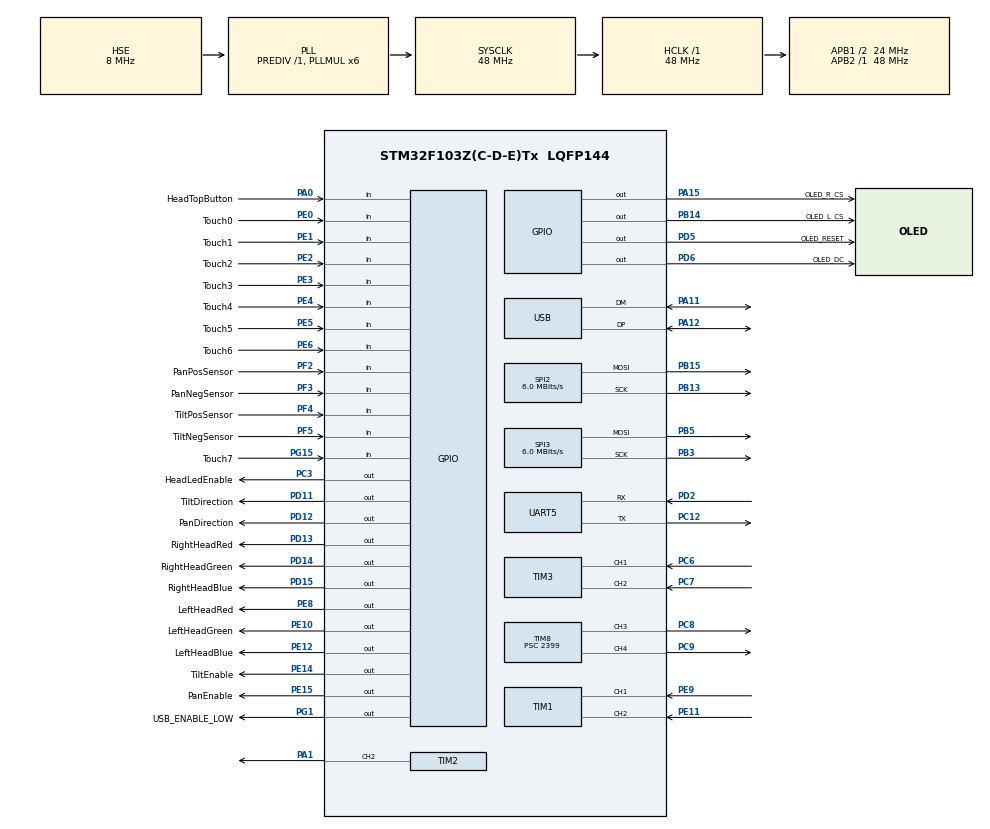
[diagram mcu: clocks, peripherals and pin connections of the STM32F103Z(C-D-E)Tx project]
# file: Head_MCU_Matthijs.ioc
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Mcu.Family=STM32F1
Mcu.Name=STM32F103Z(C-D-E)Tx
Mcu.Package=LQFP144
NVIC.PriorityGroup=NVIC_PRIORITYGROUP_4
NVIC.TIM7_IRQn=true\:0\:0\:false\:false\:true\:true\:true\:true
NVIC.UART5_IRQn=true\:0\:0\:false\:false\:true\:true\:true\:true
NVIC.USB_HP_CAN1_TX_IRQn=true\:0\:0\:false\:false\:true\:true\:true\:true
NVIC.USB_LP_CAN1_RX0_IRQn=true\:0\:0\:false\:false\:true\:false\:true\:true
OSC_IN.Mode=HSE-External-Oscillator
OSC_IN.Signal=RCC_OSC_IN
OSC_OUT.Mode=HSE-External-Oscillator
OSC_OUT.Signal=RCC_OSC_OUT
PA0-WKUP.GPIO_Label=HeadTopButton
PA0-WKUP.GPIO_PuPd=GPIO_PULLUP
PA0-WKUP.Signal=GPIO_Input
PA1.Signal=S_TIM2_CH2
PA11.Mode=Device
PA11.Signal=USB_DM
PA12.Mode=Device
PA12.Signal=USB_DP
PA13.Mode=Serial_Wire
PA13.Signal=SYS_JTMS-SWDIO
PA14.Mode=Serial_Wire
PA14.Signal=SYS_JTCK-SWCLK
PA15.GPIO_Label=OLED_R_CS
PA15.Signal=GPIO_Output
PB13.Mode=TX_Only_Simplex_Unidirect_Master
PB13.Signal=SPI2_SCK
PB14.GPIO_Label=OLED_L_CS
PB14.Signal=GPIO_Output
PB15.Mode=TX_Only_Simplex_Unidirect_Master
PB15.Signal=SPI2_MOSI
PB3.Mode=TX_Only_Simplex_Unidirect_Master
PB3.Signal=SPI3_SCK
PB5.Mode=TX_Only_Simplex_Unidirect_Master
PB5.Signal=SPI3_MOSI
PC12.Mode=Asynchronous
PC12.Signal=UART5_TX
PC3.GPIO_Label=HeadLedEnable
PC3.GPIO_ModeDefaultOutputPP=GPIO_MODE_OUTPUT_PP
PC3.GPIO_PuPd=GPIO_PULLDOWN
PC3.Signal=GPIO_Output
PC6.Signal=S_TIM3_CH1
PC7.GPIO_PuPd=GPIO_PULLUP
PC7.Signal=S_TIM3_CH2
PC8.Signal=S_TIM8_CH3
PC9.Signal=S_TIM8_CH4
PD11.GPIO_Label=TiltDirection
PD11.Signal=GPIO_Output
PD12.GPIO_Label=PanDirection
PD12.GPIO_PuPd=GPIO_NOPULL
PD12.Signal=GPIO_Output
PD13.GPIO_Label=RightHeadRed
PD13.GPIO_ModeDefaultOutputPP=GPIO_MODE_OUTPUT_PP
PD13.GPIO_PuPd=GPIO_PULLDOWN
PD13.GPIO_Speed=GPIO_SPEED_FREQ_LOW
PD13.Signal=GPIO_Output
PD14.GPIO_Label=RightHeadGreen
PD14.GPIO_PuPd=GPIO_PULLDOWN
PD14.GPIO_Speed=GPIO_SPEED_FREQ_LOW
PD14.Signal=GPIO_Output
PD15.GPIO_Label=RightHeadBlue
PD15.GPIO_PuPd=GPIO_PULLDOWN
PD15.Signal=GPIO_Output
PD2.Mode=Asynchronous
PD2.Signal=UART5_RX
PD5.GPIO_Label=OLED_RESET
PD5.Signal=GPIO_Output
PD6.GPIO_Label=OLED_DC
PD6.Signal=GPIO_Output
PE0.GPIO_Label=Touch0
PE0.GPIO_PuPd=GPIO_PULLUP
PE0.Signal=GPIO_Input
PE1.GPIO_Label=Touch1
PE1.GPIO_PuPd=GPIO_PULLUP
PE1.Signal=GPIO_Input
PE10.GPIO_Label=LeftHeadGreen
PE10.GPIO_PuPd=GPIO_PULLDOWN
PE10.Signal=GPIO_Output
PE11.Signal=S_TIM1_CH2
PE12.GPIO_Label=LeftHeadBlue
PE12.GPIO_PuPd=GPIO_PULLDOWN
PE12.Signal=GPIO_Output
PE14.GPIO_Label=TiltEnable
PE14.Signal=GPIO_Output
PE15.GPIO_Label=PanEnable
PE15.Signal=GPIO_Output
PE2.GPIO_Label=Touch2
PE2.GPIO_PuPd=GPIO_PULLUP
PE2.Signal=GPIO_Input
PE3.GPIO_Label=Touch3
PE3.GPIO_PuPd=GPIO_PULLUP
PE3.Signal=GPIO_Input
PE4.GPIO_Label=Touch4
PE4.GPIO_PuPd=GPIO_PULLUP
PE4.Signal=GPIO_Input
PE5.GPIO_Label=Touch5
PE5.GPIO_PuPd=GPIO_PULLUP
PE5.Signal=GPIO_Input
PE6.GPIO_Label=Touch6
PE6.GPIO_PuPd=GPIO_PULLUP
PE6.Signal=GPIO_Input
PE8.GPIO_Label=LeftHeadRed
PE8.GPIO_PuPd=GPIO_PULLDOWN
PE8.Signal=GPIO_Output
PE9.Signal=S_TIM1_CH1
PF2.GPIO_Label=PanPosSensor
PF2.GPIO_PuPd=GPIO_PULLUP
PF2.Signal=GPIO_Input
PF3.GPIO_Label=PanNegSensor
PF3.GPIO_PuPd=GPIO_PULLUP
PF3.Signal=GPIO_Input
PF4.GPIO_Label=TiltPosSensor
PF4.GPIO_PuPd=GPIO_PULLUP
PF4.Signal=GPIO_Input
PF5.GPIO_Label=TiltNegSensor
PF5.GPIO_PuPd=GPIO_PULLUP
PF5.Signal=GPIO_Input
PG1.GPIO_Label=USB_ENABLE_LOW
PG1.GPIO_PuPd=GPIO_PULLDOWN
PG1.Signal=GPIO_Output
PG15.GPIO_Label=Touch7
PG15.GPIO_PuPd=GPIO_PULLUP
PG15.Signal=GPIO_Input
ProjectManager.HeapSize=0x200
ProjectManager.StackSize=0x400
ProjectManager.TargetToolchain=STM32CubeIDE
RCC.AHBFreq_Value=48000000
RCC.APB1CLKDivider=RCC_HCLK_DIV2
RCC.APB1Freq_Value=24000000
RCC.APB1TimFreq_Value=48000000
RCC.APB2Freq_Value=48000000
RCC.APB2TimFreq_Value=48000000
RCC.HCLKFreq_Value=48000000
RCC.PLLMUL=RCC_PLL_MUL6
RCC.SYSCLKFreq_VALUE=48000000
RCC.SYSCLKSource=RCC_SYSCLKSOURCE_PLLCLK
RCC.USBFreq_Value=48000000
SH.S_TIM1_CH1.0=TIM1_CH1,Encoder_Interface
SH.S_TIM1_CH2.0=TIM1_CH2,Encoder_Interface
SH.S_TIM2_CH2.0=TIM2_CH2,PWM Generation2 CH2
SH.S_TIM3_CH1.0=TIM3_CH1,Encoder_Interface
SH.S_TIM3_CH2.0=TIM3_CH2,Encoder_Interface
SH.S_TIM8_CH3.0=TIM8_CH3,PWM Generation3 CH3
SH.S_TIM8_CH4.0=TIM8_CH4,PWM Generation4 CH4
SPI2.BaudRatePrescaler=SPI_BAUDRATEPRESCALER_4
SPI2.CalculateBaudRate=6.0 MBits/s
SPI2.Direction=SPI_DIRECTION_2LINES
SPI2.Mode=SPI_MODE_MASTER
SPI2.VirtualType=VM_MASTER
SPI3.BaudRatePrescaler=SPI_BAUDRATEPRESCALER_4
SPI3.CalculateBaudRate=6.0 MBits/s
SPI3.Direction=SPI_DIRECTION_2LINES
SPI3.Mode=SPI_MODE_MASTER
SPI3.VirtualType=VM_MASTER
TIM1.EncoderMode=TIM_ENCODERMODE_TI12
TIM2.AutoReloadPreload=TIM_AUTORELOAD_PRELOAD_ENABLE
TIM2.Channel-PWM\ Generation2\ CH2=TIM_CHANNEL_2
TIM2.Period=100
TIM2.Prescaler=1499
TIM7.AutoReloadPreload=TIM_AUTORELOAD_PRELOAD_ENABLE
TIM7.Period=99
TIM7.Prescaler=4799
TIM8.AutoReloadPreload=TIM_AUTORELOAD_PRELOAD_ENABLE
TIM8.Channel-PWM\ Generation3\ CH3=TIM_CHANNEL_3
TIM8.Channel-PWM\ Generation4\ CH4=TIM_CHANNEL_4
TIM8.Period=100
TIM8.Prescaler=2399
UART5.VirtualMode=Asynchronous
USB_DEVICE.CLASS_NAME_FS=CDC
USB_DEVICE.PID_CDC_FS=14162
USB_DEVICE.PRODUCT_STRING_CDC_FS=Sara Head MCU
USB_DEVICE.USBD_MAX_NUM_CONFIGURATION=1
USB_DEVICE.USBD_MAX_NUM_INTERFACES=1
USB_DEVICE.USBD_MAX_STR_DESC_SIZ=512
USB_DEVICE.VirtualMode=Cdc
USB_DEVICE.VirtualModeFS=Cdc_FS
VP_TIM7_VS_ClockSourceINT.Mode=Enable_Timer
VP_USB_DEVICE_VS_USB_DEVICE_CDC_FS.Mode=CDC_FS
board=custom

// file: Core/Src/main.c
/* USER CODE BEGIN Header */
/**
  ******************************************************************************
  * @file           : main.c
  * @brief          : Main program body
  ******************************************************************************
  * @attention
  *
  * <h2><center>&copy; Copyright (c) 2025 STMicroelectronics.
  * All rights reserved.</center></h2>
  *
  * This software component is licensed by ST under BSD 3-Clause license,
  * the "License"; You may not use this file except in compliance with the
  * License. You may obtain a copy of the License at:
  *                        opensource.org/licenses/BSD-3-Clause
  *
  ******************************************************************************
  */
/* USER CODE END Header */
#include "main.h"
#include "usb_device.h"

/* USER CODE BEGIN Includes */
#include "protocol_0x55.h"
#include "RobotGlobals.h"
#include "RGBLeds_Head.h"
#include "Encoders.h"
#include "HeadMotors.h"
#include "SSD1305_eyes.h"
#include "default_eyes.h"
#include "fire_eyes.h"
#include "TouchSensors.h"
#include "Eyes.h"

/* USER CODE END Includes */

/* USER CODE BEGIN PD */
void HeadLed(int LedOn);
void HeadStop(void);
void HeadRelease(void);
//void Update_Eyes(int BlinkEye);

/* USER CODE END PD */

SPI_HandleTypeDef hspi2;
SPI_HandleTypeDef hspi3;

TIM_HandleTypeDef htim1;
TIM_HandleTypeDef htim2;
TIM_HandleTypeDef htim3;
TIM_HandleTypeDef htim7;
TIM_HandleTypeDef htim8;

UART_HandleTypeDef huart5;

/* USER CODE BEGIN PV */
int SelfTestTimer = 0;

int Update_25Hz;
int Update_20Hz;
int Update_16Hz;
int Update_10Hz;
int Update_5Hz;
int Update_2Hz;
int Update_1Hz;

int Selftest = False;

int HeadButtonOld;
int HeadButton;

int tmp1;
int tmp2;

int head_pan_max;
int Counter_2Hz = 0;

int SlowCounter = 0;

int System_Ready = False;

int Button[2];

char TxBuffer[10];

OLED_HandleTypeDef left_eye;
OLED_HandleTypeDef right_eye;

/* USER CODE END PV */

void SystemClock_Config(void);
static void MX_GPIO_Init(void);
static void MX_TIM7_Init(void);
static void MX_TIM2_Init(void);
static void MX_TIM1_Init(void);
static void MX_TIM3_Init(void);
static void MX_TIM8_Init(void);
static void MX_SPI2_Init(void);
static void MX_SPI3_Init(void);
static void MX_UART5_Init(void);

/* USER CODE BEGIN 0 */
void System_Initialize_Start()
{
	// Main timer
	HAL_TIM_Base_Start_IT(&htim7);

	RGBLeds_Init();

	Protocol_0x55_Init(&huart5);

	Encoders_Init(&htim1, &htim3);

	Head_Pan_Init(&htim8);
	Head_Pan_Home();

	Head_Tilt_Init(&htim8);
	Head_Tilt_Home();

	System_Ready = True;

	HeadLed(False);

	TouchSensors_Init();

	left_eye.hspi = &hspi2;
	left_eye.cs = toGPIO(OLED_L_CS_GPIO_Port, OLED_L_CS_Pin);
	left_eye.dc = toGPIO(OLED_DC_GPIO_Port, OLED_DC_Pin);
	left_eye.reset = toGPIO(OLED_RESET_GPIO_Port, OLED_RESET_Pin);

	right_eye.hspi = &hspi3;
	right_eye.cs = toGPIO(OLED_R_CS_GPIO_Port, OLED_R_CS_Pin);
	right_eye.dc = toGPIO(OLED_DC_GPIO_Port, OLED_DC_Pin);
	right_eye.reset = toGPIO(OLED_RESET_GPIO_Port, OLED_RESET_Pin);

	SSD1305_init(&left_eye, &right_eye);

	SSD1305_writeDisplay(&left_eye, (uint8_t*) &default_left_eye_closed);
	SSD1305_writeDisplay(&right_eye, (uint8_t*) &default_right_eye_closed);

	Eyes_Init(&left_eye, &right_eye);
}

void System_Initialze_Update()
{
	if (HeadPan_State.HomeState != Homed)
	{
		return;
	}

	if (HeadTilt_State.HomeState != Homed)
	{
		return;
	}

	System_Ready = True;
}

void Check_USB_Communication()
{
	if (Protocol_0x55_CheckFifo() > 0)
	{
		int command = Protocol_0x55_GetCommand();

		if (command == CMD_VERSION_HEAD)
		{
			SendVersion();
		}

		if (command == CMD_HEAD_LEFT_COLOR)
		{
			RGBLeds_SetAllColors(LeftHead, Protocol_0x55_GetData(3), Protocol_0x55_GetData(4));
		}

		if (command == CMD_HEAD_RIGHT_COLOR)
		{
			RGBLeds_SetAllColors(RightHead, Protocol_0x55_GetData(3), Protocol_0x55_GetData(4));
		}

		if (command == CMD_HEAD_TILT_HOME)
		{
			Head_Tilt_Home();
		}

		if (command == CMD_HEAD_PAN_HOME)
		{
			Head_Pan_Home();
		}

		if (command == CMD_HEAD_PAN_MOVE)
		{
			Generic_Head_Position_Setpoint(HeadPan, Protocol_0x55_GetData(3), Protocol_0x55_GetData(4));
		}

		if (command == CMD_HEAD_TILT_MOVE)
		{
			Generic_Head_Position_Setpoint(HeadTilt, Protocol_0x55_GetData(3), Protocol_0x55_GetData(4));
		}

		if (command == CMD_HEAD_EYES)
		{
			Eyes_Select(Protocol_0x55_GetData(3), Protocol_0x55_GetData(4));
		}

		if (command == CMD_HEAD_LAMP)
		{
			HeadLed(Protocol_0x55_GetData(3));
		}

		if (command == CMD_HEAD_STOP)
		{
			HeadStop();
		}

		Protocol_0x55_MarkProcessed();
	}
}

void HeadLed(int LedOn)
{
	if (LedOn)
	{
		HAL_GPIO_WritePin(HeadLedEnable_GPIO_Port, HeadLedEnable_Pin, GPIO_PIN_RESET);
	}
	else
	{
		HAL_GPIO_WritePin(HeadLedEnable_GPIO_Port, HeadLedEnable_Pin, GPIO_PIN_SET);
	}
}

int HeadButton_Read()
{
	return (HAL_GPIO_ReadPin(HeadTopButton_GPIO_Port, HeadTopButton_Pin) == GPIO_PIN_RESET);
}

void HeadButton_Update()
{
	Button[1] = Button[0];
	Button[0] = HeadButton_Read();

	memset(TxBuffer, 0, 10);

	// Pressed
	if ((Button[0] == 1) && (Button[1] == 0))
	{
		HeadStop();

		TxBuffer[0] = HEAD_BUTTON_PRESSED;
		HAL_UART_Transmit(&huart5, (uint8_t*) &TxBuffer[0], 1, 10);
	}

	// Released
	if ((Button[0] == 0) && (Button[1] == 1))
	{
		HeadRelease();

		TxBuffer[0] = HEAD_BUTTON_RELEASED;
		HAL_UART_Transmit(&huart5, (uint8_t*) &TxBuffer[0], 1, 10);
	}
}

void HeadStop(void)
{
	RGBLeds_SetAllColors(LeftHead, Red, LED_On);
	RGBLeds_SetAllColors(RightHead, Red, LED_On);

	// Abort any motion
	HeadPan_State.MotionState = Motion_Idle;
	HeadTilt_State.MotionState = Motion_Idle;
}

void HeadRelease(void)
{
	RGBLeds_SetAllColors(LeftHead, Red, LED_Off);
	RGBLeds_SetAllColors(RightHead, Red, LED_Off);
}

void setPanMotor(int8_t setSpeed)
{
	HAL_GPIO_WritePin(PanDirection_GPIO_Port, PanDirection_Pin, setSpeed<0); // PAN
	TIM8->CCR4 = 100 - abs(setSpeed); // PAN
}

/* USER CODE END 0 */

int main(void)
{

  /* MCU Configuration--------------------------------------------------------*/

  /* Reset of all peripherals, Initializes the Flash interface and the Systick. */
  HAL_Init();

  /* Configure the system clock */
  SystemClock_Config();

  /* Initialize all configured peripherals */
  MX_GPIO_Init();
  MX_USB_DEVICE_Init();
  MX_TIM7_Init();
  MX_TIM2_Init();
  MX_TIM1_Init();
  MX_TIM3_Init();
  MX_TIM8_Init();
  MX_SPI2_Init();
  MX_SPI3_Init();
  MX_UART5_Init();
  /* USER CODE BEGIN 2 */

	TIM2->CCR2 = 0;
	HAL_TIM_PWM_Start(&htim2, TIM_CHANNEL_2);

	System_Initialize_Start();
	System_Initialze_Update();

  /* USER CODE END 2 */

  /* Infinite loop */
  /* USER CODE BEGIN WHILE */
	while (1)
	{
		if (Update_25Hz)
		{
			Update_25Hz = 0;
		}

		if (Update_20Hz)
		{
			Update_20Hz = 0;
			System_Initialze_Update();

			Head_Update20Hz(Encoders_GetPointer());
		}

		if (Update_10Hz)
		{
			Update_10Hz = 0;

			RGBLeds_Update10Hz();
			Encoders_Update();
			HeadButton_Update();
	  }

		if (Update_5Hz)
		{
			Update_5Hz = 0;

			TouchSensors_Update();
			if (TouchSensor_AnyChanged()) { SendTouchSensors(TouchSensors_GetPointer());}
		}

		if (Update_2Hz)
		{
			Update_2Hz = 0;

			if (Counter_2Hz == 0)
			{
			  Update_Eyes(False);
			}

			if (Counter_2Hz == 5)
			{
			  Update_Eyes(True);
			}

			Counter_2Hz = (Counter_2Hz + 1) % 6;
		}

	if (Update_1Hz)
	{
		Update_1Hz = 0;

		SlowCounter += 1;
	  }

	  //--------------------------------------------------------
	  // Limit the check for new data frequency
	  // When run at full speed (no delay), the USB interrupt and the check will lead
	  // to lost bytes. Don't know why and don't know how to solve. But delay works fine.
	  //--------------------------------------------------------
	  Check_USB_Communication();
	  HAL_Delay(1);

    /* USER CODE END WHILE */

  }
}

void SystemClock_Config(void)
{
  RCC_OscInitTypeDef RCC_OscInitStruct = {0};
  RCC_ClkInitTypeDef RCC_ClkInitStruct = {0};
  RCC_PeriphCLKInitTypeDef PeriphClkInit = {0};

  /** Initializes the RCC Oscillators according to the specified parameters
  * in the RCC_OscInitTypeDef structure.
  */
  RCC_OscInitStruct.OscillatorType = RCC_OSCILLATORTYPE_HSE;
  RCC_OscInitStruct.HSEState = RCC_HSE_ON;
  RCC_OscInitStruct.HSEPredivValue = RCC_HSE_PREDIV_DIV1;
  RCC_OscInitStruct.HSIState = RCC_HSI_ON;
  RCC_OscInitStruct.PLL.PLLState = RCC_PLL_ON;
  RCC_OscInitStruct.PLL.PLLSource = RCC_PLLSOURCE_HSE;
  RCC_OscInitStruct.PLL.PLLMUL = RCC_PLL_MUL6;
  if (HAL_RCC_OscConfig(&RCC_OscInitStruct) != HAL_OK)
  {
    Error_Handler();
  }

  /** Initializes the CPU, AHB and APB buses clocks
  */
  RCC_ClkInitStruct.ClockType = RCC_CLOCKTYPE_HCLK|RCC_CLOCKTYPE_SYSCLK
                              |RCC_CLOCKTYPE_PCLK1|RCC_CLOCKTYPE_PCLK2;
  RCC_ClkInitStruct.SYSCLKSource = RCC_SYSCLKSOURCE_PLLCLK;
  RCC_ClkInitStruct.AHBCLKDivider = RCC_SYSCLK_DIV1;
  RCC_ClkInitStruct.APB1CLKDivider = RCC_HCLK_DIV2;
  RCC_ClkInitStruct.APB2CLKDivider = RCC_HCLK_DIV1;

  if (HAL_RCC_ClockConfig(&RCC_ClkInitStruct, FLASH_LATENCY_1) != HAL_OK)
  {
    Error_Handler();
  }
  PeriphClkInit.PeriphClockSelection = RCC_PERIPHCLK_USB;
  PeriphClkInit.UsbClockSelection = RCC_USBCLKSOURCE_PLL;
  if (HAL_RCCEx_PeriphCLKConfig(&PeriphClkInit) != HAL_OK)
  {
    Error_Handler();
  }
}

static void MX_SPI2_Init(void)
{

  /* SPI2 parameter configuration*/
  hspi2.Instance = SPI2;
  hspi2.Init.Mode = SPI_MODE_MASTER;
  hspi2.Init.Direction = SPI_DIRECTION_2LINES;
  hspi2.Init.DataSize = SPI_DATASIZE_8BIT;
  hspi2.Init.CLKPolarity = SPI_POLARITY_LOW;
  hspi2.Init.CLKPhase = SPI_PHASE_1EDGE;
  hspi2.Init.NSS = SPI_NSS_SOFT;
  hspi2.Init.BaudRatePrescaler = SPI_BAUDRATEPRESCALER_4;
  hspi2.Init.FirstBit = SPI_FIRSTBIT_MSB;
  hspi2.Init.TIMode = SPI_TIMODE_DISABLE;
  hspi2.Init.CRCCalculation = SPI_CRCCALCULATION_DISABLE;
  hspi2.Init.CRCPolynomial = 10;
  if (HAL_SPI_Init(&hspi2) != HAL_OK)
  {
    Error_Handler();
  }

}

static void MX_SPI3_Init(void)
{

  /* SPI3 parameter configuration*/
  hspi3.Instance = SPI3;
  hspi3.Init.Mode = SPI_MODE_MASTER;
  hspi3.Init.Direction = SPI_DIRECTION_2LINES;
  hspi3.Init.DataSize = SPI_DATASIZE_8BIT;
  hspi3.Init.CLKPolarity = SPI_POLARITY_LOW;
  hspi3.Init.CLKPhase = SPI_PHASE_1EDGE;
  hspi3.Init.NSS = SPI_NSS_SOFT;
  hspi3.Init.BaudRatePrescaler = SPI_BAUDRATEPRESCALER_4;
  hspi3.Init.FirstBit = SPI_FIRSTBIT_MSB;
  hspi3.Init.TIMode = SPI_TIMODE_DISABLE;
  hspi3.Init.CRCCalculation = SPI_CRCCALCULATION_DISABLE;
  hspi3.Init.CRCPolynomial = 10;
  if (HAL_SPI_Init(&hspi3) != HAL_OK)
  {
    Error_Handler();
  }

}

static void MX_TIM1_Init(void)
{

  TIM_Encoder_InitTypeDef sConfig = {0};
  TIM_MasterConfigTypeDef sMasterConfig = {0};

  htim1.Instance = TIM1;
  htim1.Init.Prescaler = 0;
  htim1.Init.CounterMode = TIM_COUNTERMODE_UP;
  htim1.Init.Period = 65535;
  htim1.Init.ClockDivision = TIM_CLOCKDIVISION_DIV1;
  htim1.Init.RepetitionCounter = 0;
  htim1.Init.AutoReloadPreload = TIM_AUTORELOAD_PRELOAD_DISABLE;
  sConfig.EncoderMode = TIM_ENCODERMODE_TI12;
  sConfig.IC1Polarity = TIM_ICPOLARITY_RISING;
  sConfig.IC1Selection = TIM_ICSELECTION_DIRECTTI;
  sConfig.IC1Prescaler = TIM_ICPSC_DIV1;
  sConfig.IC1Filter = 0;
  sConfig.IC2Polarity = TIM_ICPOLARITY_RISING;
  sConfig.IC2Selection = TIM_ICSELECTION_DIRECTTI;
  sConfig.IC2Prescaler = TIM_ICPSC_DIV1;
  sConfig.IC2Filter = 0;
  if (HAL_TIM_Encoder_Init(&htim1, &sConfig) != HAL_OK)
  {
    Error_Handler();
  }
  sMasterConfig.MasterOutputTrigger = TIM_TRGO_RESET;
  sMasterConfig.MasterSlaveMode = TIM_MASTERSLAVEMODE_DISABLE;
  if (HAL_TIMEx_MasterConfigSynchronization(&htim1, &sMasterConfig) != HAL_OK)
  {
    Error_Handler();
  }

}

static void MX_TIM2_Init(void)
{

  TIM_MasterConfigTypeDef sMasterConfig = {0};
  TIM_OC_InitTypeDef sConfigOC = {0};

  htim2.Instance = TIM2;
  htim2.Init.Prescaler = 1499;
  htim2.Init.CounterMode = TIM_COUNTERMODE_UP;
  htim2.Init.Period = 100;
  htim2.Init.ClockDivision = TIM_CLOCKDIVISION_DIV1;
  htim2.Init.AutoReloadPreload = TIM_AUTORELOAD_PRELOAD_ENABLE;
  if (HAL_TIM_PWM_Init(&htim2) != HAL_OK)
  {
    Error_Handler();
  }
  sMasterConfig.MasterOutputTrigger = TIM_TRGO_RESET;
  sMasterConfig.MasterSlaveMode = TIM_MASTERSLAVEMODE_DISABLE;
  if (HAL_TIMEx_MasterConfigSynchronization(&htim2, &sMasterConfig) != HAL_OK)
  {
    Error_Handler();
  }
  sConfigOC.OCMode = TIM_OCMODE_PWM1;
  sConfigOC.Pulse = 0;
  sConfigOC.OCPolarity = TIM_OCPOLARITY_HIGH;
  sConfigOC.OCFastMode = TIM_OCFAST_DISABLE;
  if (HAL_TIM_PWM_ConfigChannel(&htim2, &sConfigOC, TIM_CHANNEL_2) != HAL_OK)
  {
    Error_Handler();
  }
  HAL_TIM_MspPostInit(&htim2);

}

static void MX_TIM3_Init(void)
{

  TIM_Encoder_InitTypeDef sConfig = {0};
  TIM_MasterConfigTypeDef sMasterConfig = {0};

  htim3.Instance = TIM3;
  htim3.Init.Prescaler = 0;
  htim3.Init.CounterMode = TIM_COUNTERMODE_UP;
  htim3.Init.Period = 65535;
  htim3.Init.ClockDivision = TIM_CLOCKDIVISION_DIV1;
  htim3.Init.AutoReloadPreload = TIM_AUTORELOAD_PRELOAD_DISABLE;
  sConfig.EncoderMode = TIM_ENCODERMODE_TI1;
  sConfig.IC1Polarity = TIM_ICPOLARITY_RISING;
  sConfig.IC1Selection = TIM_ICSELECTION_DIRECTTI;
  sConfig.IC1Prescaler = TIM_ICPSC_DIV1;
  sConfig.IC1Filter = 0;
  sConfig.IC2Polarity = TIM_ICPOLARITY_RISING;
  sConfig.IC2Selection = TIM_ICSELECTION_DIRECTTI;
  sConfig.IC2Prescaler = TIM_ICPSC_DIV1;
  sConfig.IC2Filter = 0;
  if (HAL_TIM_Encoder_Init(&htim3, &sConfig) != HAL_OK)
  {
    Error_Handler();
  }
  sMasterConfig.MasterOutputTrigger = TIM_TRGO_RESET;
  sMasterConfig.MasterSlaveMode = TIM_MASTERSLAVEMODE_DISABLE;
  if (HAL_TIMEx_MasterConfigSynchronization(&htim3, &sMasterConfig) != HAL_OK)
  {
    Error_Handler();
  }

}

static void MX_TIM7_Init(void)
{

  TIM_MasterConfigTypeDef sMasterConfig = {0};

  htim7.Instance = TIM7;
  htim7.Init.Prescaler = 4799;
  htim7.Init.CounterMode = TIM_COUNTERMODE_UP;
  htim7.Init.Period = 99;
  htim7.Init.AutoReloadPreload = TIM_AUTORELOAD_PRELOAD_ENABLE;
  if (HAL_TIM_Base_Init(&htim7) != HAL_OK)
  {
    Error_Handler();
  }
  sMasterConfig.MasterOutputTrigger = TIM_TRGO_RESET;
  sMasterConfig.MasterSlaveMode = TIM_MASTERSLAVEMODE_DISABLE;
  if (HAL_TIMEx_MasterConfigSynchronization(&htim7, &sMasterConfig) != HAL_OK)
  {
    Error_Handler();
  }

}

static void MX_TIM8_Init(void)
{

  TIM_MasterConfigTypeDef sMasterConfig = {0};
  TIM_OC_InitTypeDef sConfigOC = {0};
  TIM_BreakDeadTimeConfigTypeDef sBreakDeadTimeConfig = {0};

  htim8.Instance = TIM8;
  htim8.Init.Prescaler = 2399;
  htim8.Init.CounterMode = TIM_COUNTERMODE_UP;
  htim8.Init.Period = 100;
  htim8.Init.ClockDivision = TIM_CLOCKDIVISION_DIV1;
  htim8.Init.RepetitionCounter = 0;
  htim8.Init.AutoReloadPreload = TIM_AUTORELOAD_PRELOAD_ENABLE;
  if (HAL_TIM_PWM_Init(&htim8) != HAL_OK)
  {
    Error_Handler();
  }
  sMasterConfig.MasterOutputTrigger = TIM_TRGO_RESET;
  sMasterConfig.MasterSlaveMode = TIM_MASTERSLAVEMODE_DISABLE;
  if (HAL_TIMEx_MasterConfigSynchronization(&htim8, &sMasterConfig) != HAL_OK)
  {
    Error_Handler();
  }
  sConfigOC.OCMode = TIM_OCMODE_PWM1;
  sConfigOC.Pulse = 0;
  sConfigOC.OCPolarity = TIM_OCPOLARITY_HIGH;
  sConfigOC.OCNPolarity = TIM_OCNPOLARITY_HIGH;
  sConfigOC.OCFastMode = TIM_OCFAST_DISABLE;
  sConfigOC.OCIdleState = TIM_OCIDLESTATE_RESET;
  sConfigOC.OCNIdleState = TIM_OCNIDLESTATE_RESET;
  if (HAL_TIM_PWM_ConfigChannel(&htim8, &sConfigOC, TIM_CHANNEL_3) != HAL_OK)
  {
    Error_Handler();
  }
  if (HAL_TIM_PWM_ConfigChannel(&htim8, &sConfigOC, TIM_CHANNEL_4) != HAL_OK)
  {
    Error_Handler();
  }
  sBreakDeadTimeConfig.OffStateRunMode = TIM_OSSR_DISABLE;
  sBreakDeadTimeConfig.OffStateIDLEMode = TIM_OSSI_DISABLE;
  sBreakDeadTimeConfig.LockLevel = TIM_LOCKLEVEL_OFF;
  sBreakDeadTimeConfig.DeadTime = 0;
  sBreakDeadTimeConfig.BreakState = TIM_BREAK_DISABLE;
  sBreakDeadTimeConfig.BreakPolarity = TIM_BREAKPOLARITY_HIGH;
  sBreakDeadTimeConfig.AutomaticOutput = TIM_AUTOMATICOUTPUT_DISABLE;
  if (HAL_TIMEx_ConfigBreakDeadTime(&htim8, &sBreakDeadTimeConfig) != HAL_OK)
  {
    Error_Handler();
  }
  HAL_TIM_MspPostInit(&htim8);

}

static void MX_UART5_Init(void)
{

  huart5.Instance = UART5;
  huart5.Init.BaudRate = 115200;
  huart5.Init.WordLength = UART_WORDLENGTH_8B;
  huart5.Init.StopBits = UART_STOPBITS_1;
  huart5.Init.Parity = UART_PARITY_NONE;
  huart5.Init.Mode = UART_MODE_TX_RX;
  huart5.Init.HwFlowCtl = UART_HWCONTROL_NONE;
  huart5.Init.OverSampling = UART_OVERSAMPLING_16;
  if (HAL_UART_Init(&huart5) != HAL_OK)
  {
    Error_Handler();
  }

}

static void MX_GPIO_Init(void)
{
  GPIO_InitTypeDef GPIO_InitStruct = {0};

  /* GPIO Ports Clock Enable */
  __HAL_RCC_GPIOE_CLK_ENABLE();
  __HAL_RCC_GPIOF_CLK_ENABLE();
  __HAL_RCC_GPIOC_CLK_ENABLE();
  __HAL_RCC_GPIOA_CLK_ENABLE();
  __HAL_RCC_GPIOG_CLK_ENABLE();
  __HAL_RCC_GPIOB_CLK_ENABLE();
  __HAL_RCC_GPIOD_CLK_ENABLE();

  /*Configure GPIO pin Output Level */
  HAL_GPIO_WritePin(HeadLedEnable_GPIO_Port, HeadLedEnable_Pin, GPIO_PIN_RESET);

  /*Configure GPIO pin Output Level */
  HAL_GPIO_WritePin(USB_ENABLE_LOW_GPIO_Port, USB_ENABLE_LOW_Pin, GPIO_PIN_RESET);

  /*Configure GPIO pin Output Level */
  HAL_GPIO_WritePin(GPIOE, LeftHeadRed_Pin|LeftHeadGreen_Pin|LeftHeadBlue_Pin|TiltEnable_Pin
                          |PanEnable_Pin, GPIO_PIN_RESET);

  /*Configure GPIO pin Output Level */
  HAL_GPIO_WritePin(OLED_L_CS_GPIO_Port, OLED_L_CS_Pin, GPIO_PIN_RESET);

  /*Configure GPIO pin Output Level */
  HAL_GPIO_WritePin(GPIOD, TiltDirection_Pin|PanDirection_Pin|RightHeadRed_Pin|RightHeadGreen_Pin
                          |RightHeadBlue_Pin|OLED_RESET_Pin|OLED_DC_Pin, GPIO_PIN_RESET);

  /*Configure GPIO pin Output Level */
  HAL_GPIO_WritePin(OLED_R_CS_GPIO_Port, OLED_R_CS_Pin, GPIO_PIN_RESET);

  /*Configure GPIO pins : Touch2_Pin Touch3_Pin Touch4_Pin Touch5_Pin
                           Touch6_Pin Touch0_Pin Touch1_Pin */
  GPIO_InitStruct.Pin = Touch2_Pin|Touch3_Pin|Touch4_Pin|Touch5_Pin
                          |Touch6_Pin|Touch0_Pin|Touch1_Pin;
  GPIO_InitStruct.Mode = GPIO_MODE_INPUT;
  GPIO_InitStruct.Pull = GPIO_PULLUP;
  HAL_GPIO_Init(GPIOE, &GPIO_InitStruct);

  /*Configure GPIO pins : PanPosSensor_Pin PanNegSensor_Pin TiltPosSensor_Pin TiltNegSensor_Pin */
  GPIO_InitStruct.Pin = PanPosSensor_Pin|PanNegSensor_Pin|TiltPosSensor_Pin|TiltNegSensor_Pin;
  GPIO_InitStruct.Mode = GPIO_MODE_INPUT;
  GPIO_InitStruct.Pull = GPIO_PULLUP;
  HAL_GPIO_Init(GPIOF, &GPIO_InitStruct);

  /*Configure GPIO pin : HeadLedEnable_Pin */
  GPIO_InitStruct.Pin = HeadLedEnable_Pin;
  GPIO_InitStruct.Mode = GPIO_MODE_OUTPUT_PP;
  GPIO_InitStruct.Pull = GPIO_PULLDOWN;
  GPIO_InitStruct.Speed = GPIO_SPEED_FREQ_LOW;
  HAL_GPIO_Init(HeadLedEnable_GPIO_Port, &GPIO_InitStruct);

  /*Configure GPIO pin : HeadTopButton_Pin */
  GPIO_InitStruct.Pin = HeadTopButton_Pin;
  GPIO_InitStruct.Mode = GPIO_MODE_INPUT;
  GPIO_InitStruct.Pull = GPIO_PULLUP;
  HAL_GPIO_Init(HeadTopButton_GPIO_Port, &GPIO_InitStruct);

  /*Configure GPIO pin : USB_ENABLE_LOW_Pin */
  GPIO_InitStruct.Pin = USB_ENABLE_LOW_Pin;
  GPIO_InitStruct.Mode = GPIO_MODE_OUTPUT_PP;
  GPIO_InitStruct.Pull = GPIO_PULLDOWN;
  GPIO_InitStruct.Speed = GPIO_SPEED_FREQ_LOW;
  HAL_GPIO_Init(USB_ENABLE_LOW_GPIO_Port, &GPIO_InitStruct);

  /*Configure GPIO pins : LeftHeadRed_Pin LeftHeadGreen_Pin LeftHeadBlue_Pin */
  GPIO_InitStruct.Pin = LeftHeadRed_Pin|LeftHeadGreen_Pin|LeftHeadBlue_Pin;
  GPIO_InitStruct.Mode = GPIO_MODE_OUTPUT_PP;
  GPIO_InitStruct.Pull = GPIO_PULLDOWN;
  GPIO_InitStruct.Speed = GPIO_SPEED_FREQ_LOW;
  HAL_GPIO_Init(GPIOE, &GPIO_InitStruct);

  /*Configure GPIO pins : TiltEnable_Pin PanEnable_Pin */
  GPIO_InitStruct.Pin = TiltEnable_Pin|PanEnable_Pin;
  GPIO_InitStruct.Mode = GPIO_MODE_OUTPUT_PP;
  GPIO_InitStruct.Pull = GPIO_NOPULL;
  GPIO_InitStruct.Speed = GPIO_SPEED_FREQ_LOW;
  HAL_GPIO_Init(GPIOE, &GPIO_InitStruct);

  /*Configure GPIO pin : OLED_L_CS_Pin */
  GPIO_InitStruct.Pin = OLED_L_CS_Pin;
  GPIO_InitStruct.Mode = GPIO_MODE_OUTPUT_PP;
  GPIO_InitStruct.Pull = GPIO_NOPULL;
  GPIO_InitStruct.Speed = GPIO_SPEED_FREQ_LOW;
  HAL_GPIO_Init(OLED_L_CS_GPIO_Port, &GPIO_InitStruct);

  /*Configure GPIO pins : TiltDirection_Pin PanDirection_Pin OLED_RESET_Pin OLED_DC_Pin */
  GPIO_InitStruct.Pin = TiltDirection_Pin|PanDirection_Pin|OLED_RESET_Pin|OLED_DC_Pin;
  GPIO_InitStruct.Mode = GPIO_MODE_OUTPUT_PP;
  GPIO_InitStruct.Pull = GPIO_NOPULL;
  GPIO_InitStruct.Speed = GPIO_SPEED_FREQ_LOW;
  HAL_GPIO_Init(GPIOD, &GPIO_InitStruct);

  /*Configure GPIO pins : RightHeadRed_Pin RightHeadGreen_Pin RightHeadBlue_Pin */
  GPIO_InitStruct.Pin = RightHeadRed_Pin|RightHeadGreen_Pin|RightHeadBlue_Pin;
  GPIO_InitStruct.Mode = GPIO_MODE_OUTPUT_PP;
  GPIO_InitStruct.Pull = GPIO_PULLDOWN;
  GPIO_InitStruct.Speed = GPIO_SPEED_FREQ_LOW;
  HAL_GPIO_Init(GPIOD, &GPIO_InitStruct);

  /*Configure GPIO pin : OLED_R_CS_Pin */
  GPIO_InitStruct.Pin = OLED_R_CS_Pin;
  GPIO_InitStruct.Mode = GPIO_MODE_OUTPUT_PP;
  GPIO_InitStruct.Pull = GPIO_NOPULL;
  GPIO_InitStruct.Speed = GPIO_SPEED_FREQ_LOW;
  HAL_GPIO_Init(OLED_R_CS_GPIO_Port, &GPIO_InitStruct);

  /*Configure GPIO pin : Touch7_Pin */
  GPIO_InitStruct.Pin = Touch7_Pin;
  GPIO_InitStruct.Mode = GPIO_MODE_INPUT;
  GPIO_InitStruct.Pull = GPIO_PULLUP;
  HAL_GPIO_Init(Touch7_GPIO_Port, &GPIO_InitStruct);

}

void Error_Handler(void)
{
  __disable_irq();
  while (1)
  {
  }
}
